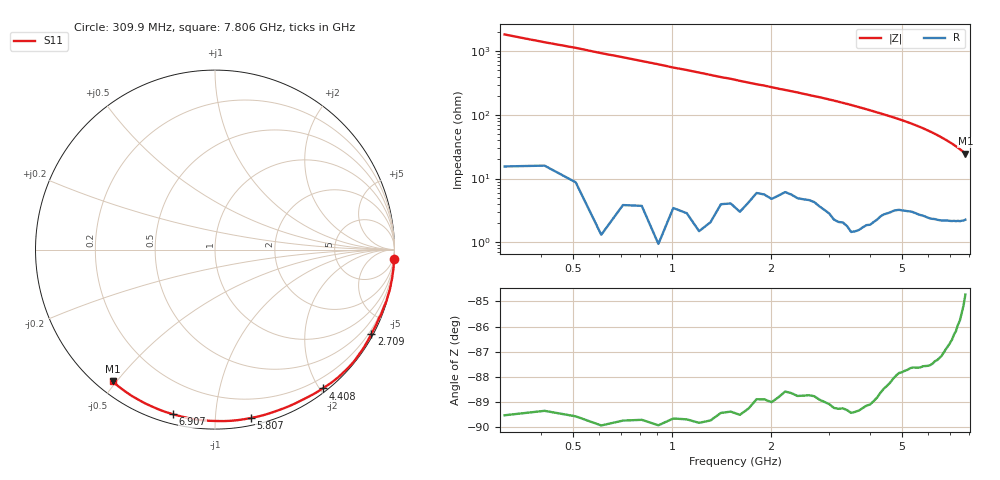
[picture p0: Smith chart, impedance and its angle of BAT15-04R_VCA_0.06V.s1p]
! Infineon Technologies  Discrete & RF Semiconductors
! BAT15-04R
! VCA = 0.06 V
! One-Port S-Parameters
# Hz  S  MA  R  50
!f  S11
!Hz  Mag  Ang
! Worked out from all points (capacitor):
!   76 points, 309.9 MHz to 7.806 GHz, reference 50 ohm
!   read as one part to ground: C = 280 fF near 309.9 MHz
!   lowest |Z| = 24.6 ohm at 7.806 GHz (marker M1)
!   S11 on the Smith chart (normalised r, x): 309.9 MHz: 0, -37; 2.709 GHz: 0.09, -3.95; 4.408 GHz: 0.05, -2.04; 5.807 GHz: 0.05, -1.23; 6.907 GHz: 0.04, -0.78; 7.806 GHz: 0.05, -0.49
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3.0985e8  0.9995 -3.1
9.0955e8  0.9998 -9.2
1.30935e9  0.9989 -13.4
1.6092e9  0.9975 -16.6
2.009e9  0.9938 -20.7
2.2089e9  0.9904 -22.9
2.4088e9  0.9908 -25.0
2.70865e9  0.9898 -28.4
2.90855e9  0.991 -30.7
3.2084e9  0.9927 -34.4
3.50825e9  0.9937 -38.5
3.70815e9  0.9922 -41.4
4.10795e9  0.9866 -47.4
4.4078e9  0.979 -52.2
4.70765e9  0.972 -57.1
5.0075e9  0.9666 -62.3
5.30735e9  0.9626 -67.9
5.6072e9  0.961 -73.9
5.8071e9  0.9593 -78.1
6.007e9  0.9585 -82.6
6.2069e9  0.9567 -87.1
6.50675e9  0.9531 -94.4
6.70665e9  0.95 -99.3
6.90655e9  0.9469 -104.3
7.10645e9  0.9442 -109.4
7.30635e9  0.941 -114.5
7.6062e9  0.9352 -122.4
7.8061e9  0.9297 -127.8
